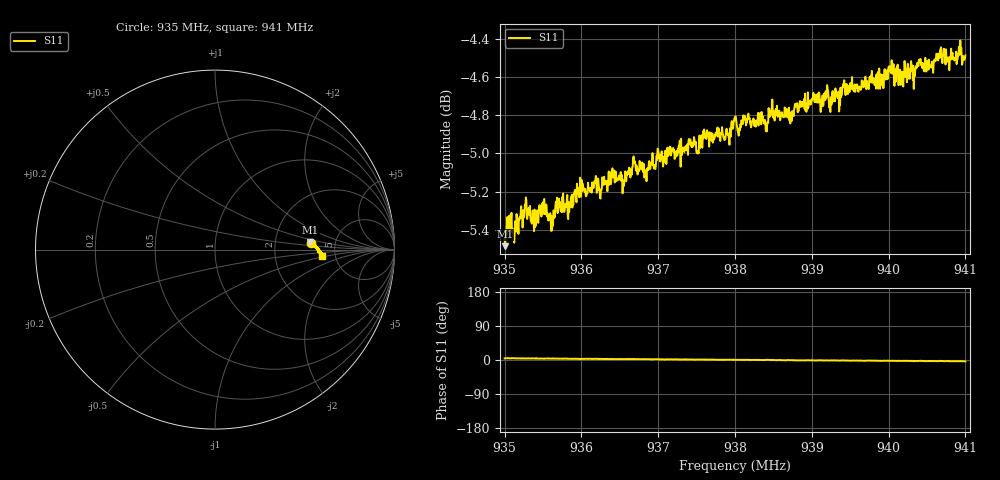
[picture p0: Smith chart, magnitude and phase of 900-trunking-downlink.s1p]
! Calibrated averaged scanner-service zoom
# Hz S RI R 50
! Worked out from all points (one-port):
!   1001 points, 935 MHz to 941 MHz, reference 50 ohm
!   lowest |S11| = -5.5 dB at 935.006 MHz (marker M1), VSWR 3.27, Z = 161 + j18.1 ohm
!   |S11| at or under -10 dB: nowhere
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9.35e8  0.5324 0.039
9.35006e8  0.5302 0.0402
9.3506e8  0.5402 0.0394
9.35126e8  0.5312 0.0411
9.35288e8  0.5425 0.0375
9.35378e8  0.5386 0.039
9.35516e8  0.5461 0.0329
9.356e8  0.5391 0.0365
9.3575e8  0.5468 0.0313
9.3599e8  0.5515 0.0195
9.36086e8  0.5516 0.031
9.365e8  0.5534 0.0251
9.3725e8  0.5615 0.0142
9.37616e8  0.5689 0.00951
9.37898e8  0.5693 0.00794
9.38e8  0.5741 0.00549
9.38372e8  0.5735 -0.000167
9.38438e8  0.578 0.00428
9.38636e8  0.5747 -0.00672
9.3875e8  0.5752 -0.00472
9.395e8  0.5864 -0.0189
9.40022e8  0.5916 -0.0227
9.4025e8  0.5932 -0.0228
9.40352e8  0.5911 -0.028
9.40418e8  0.595 -0.0202
9.4049e8  0.5902 -0.0282
9.407e8  0.5931 -0.03
9.41e8  0.5955 -0.0367
